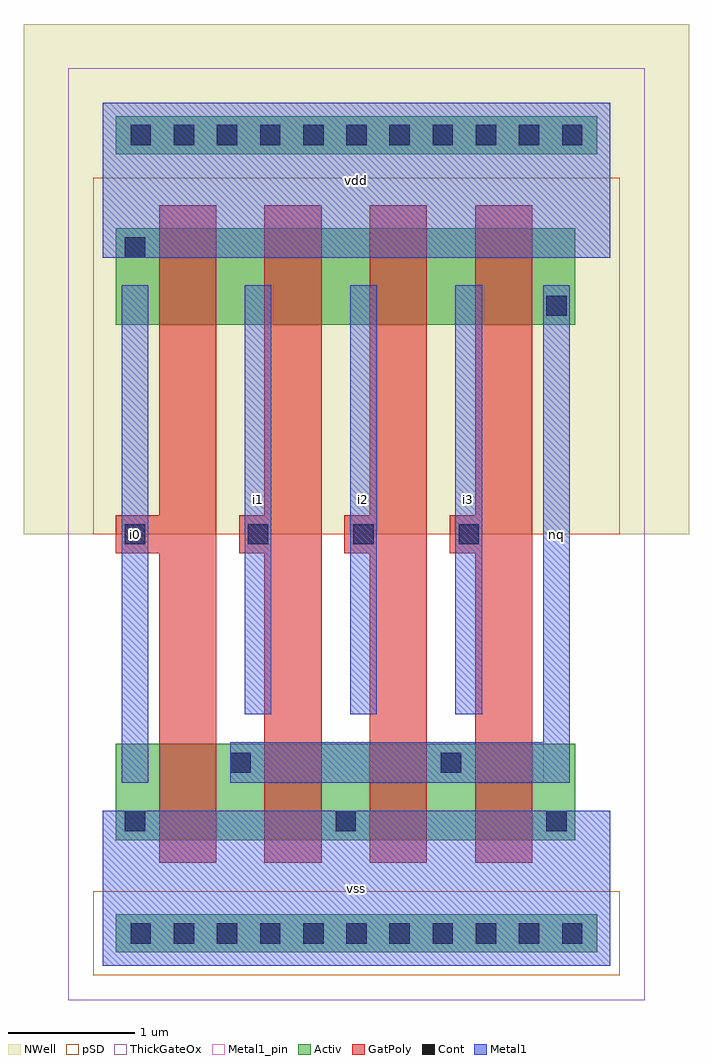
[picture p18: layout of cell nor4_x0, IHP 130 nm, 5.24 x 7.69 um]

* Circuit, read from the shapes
.subckt nor4_x0 i0 i1 i2 i3 nq vdd vss
XM1 nq i0 vss vss sg13_hv_nmos w=0.76u l=0.45u
XM2 vss i1 nq vss sg13_hv_nmos w=0.76u l=0.45u
XM3 nq i2 vss vss sg13_hv_nmos w=0.76u l=0.45u
XM4 vss i3 nq vss sg13_hv_nmos w=0.76u l=0.45u
XM5 n1 i0 vdd vdd sg13_hv_pmos w=0.76u l=0.45u
XM6 n2 i1 n1 vdd sg13_hv_pmos w=0.76u l=0.45u
XM7 n3 i2 n2 vdd sg13_hv_pmos w=0.76u l=0.45u
XM8 nq i3 n3 vdd sg13_hv_pmos w=0.76u l=0.45u
.ends

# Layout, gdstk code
import gdstk
lib = gdstk.Library(unit=1e-6, precision=1e-09)
def R(c, l, rs):  # rectangles x0, y0, x1, y1
    for r in rs: c.add(gdstk.rectangle(r[:2], r[2:], *l))
def A(c, l, x, y, w, h, nx, ny, dx, dy):  # array of equal rectangles
    R(c, l, [(x+i*dx, y+j*dy, x+i*dx+w, y+j*dy+h) for i in range(nx) for j in range(ny)])
def P(c, l, *ps):  # polygons
    for p in ps: c.add(gdstk.Polygon(p, *l))
Activ = (1, 0)
GatPoly = (5, 0)
Cont = (6, 0)
Metal1 = (8, 0)
Metal1_pin = (8, 2)
pSD = (14, 0)
NWell = (31, 0)
ThickGateOx = (44, 0)

nor4_x0 = lib.new_cell('nor4_x0')
R(nor4_x0, Activ, [(0.105,0.105,3.895,0.405), (0.105,0.99,3.725,1.75), (0.105,5.05,3.725,5.81), (0.105,6.395,3.895,6.695)])
P(nor4_x0, GatPoly, [(0.445,0.81),(0.445,3.25),(0.105,3.25),(0.105,3.55),(0.445,3.55),(0.445,5.99),(0.895,5.99),(0.895,0.81)],
  [(1.275,0.81),(1.275,3.25),(1.075,3.25),(1.075,3.55),(1.275,3.55),(1.275,5.99),(1.725,5.99),(1.725,0.81)],
  [(2.105,0.81),(2.105,3.25),(1.905,3.25),(1.905,3.55),(2.105,3.55),(2.105,5.99),(2.555,5.99),(2.555,0.81)],
  [(2.935,0.81),(2.935,3.25),(2.735,3.25),(2.735,3.55),(2.935,3.55),(2.935,5.99),(3.385,5.99),(3.385,0.81)])
A(nor4_x0, Cont, 0.22, 0.175, 0.16, 0.16, 11, 2, 0.34, 6.29)
A(nor4_x0, Cont, 0.175, 1.06, 0.16, 0.16, 3, 1, 1.66, 0)
A(nor4_x0, Cont, 1.145, 3.32, 0.16, 0.16, 3, 1, 0.83, 0)
R(nor4_x0, Cont, [(1.005,1.52,1.165,1.68), (2.665,1.52,2.825,1.68), (0.175,3.32,0.335,3.48), (3.495,5.12,3.655,5.28), (0.175,5.58,0.335,5.74)])
A(nor4_x0, Metal1, 1.12, 1.98, 0.21, 3.38, 3, 1, 0.83, 0)
R(nor4_x0, Metal1, [(0,0,4,1.22), (0.15,1.44,0.36,5.36), (0,5.58,4,6.8)])
P(nor4_x0, Metal1, [(1.005,1.44),(1.005,1.76),(3.47,1.76),(3.47,5.36),(3.68,5.36),(3.68,1.44)])
A(nor4_x0, Metal1_pin, 1.12, 1.98, 0.21, 3.38, 3, 1, 0.83, 0)
R(nor4_x0, Metal1_pin, [(0,0,4,1.22), (0.15,1.44,0.36,5.36), (3.47,1.44,3.68,5.36), (0,5.58,4,6.8)])
R(nor4_x0, pSD, [(-0.075,-0.075,4.075,0.585), (-0.075,3.4,4.075,6.21)])
R(nor4_x0, NWell, [(-0.62,3.4,4.62,7.42)])
R(nor4_x0, ThickGateOx, [(-0.27,-0.27,4.27,7.07)])
nor4_x0.add(gdstk.Label('vss', (2,0.61), layer=8, texttype=2))
nor4_x0.add(gdstk.Label('vdd', (2,6.19), layer=8, texttype=2))
nor4_x0.add(gdstk.Label('nq', (3.575,3.4), layer=8, texttype=2))
nor4_x0.add(gdstk.Label('i0', (0.255,3.4), layer=8, texttype=2))
nor4_x0.add(gdstk.Label('i1', (1.225,3.67), layer=8, texttype=2))
nor4_x0.add(gdstk.Label('i2', (2.055,3.67), layer=8, texttype=2))
nor4_x0.add(gdstk.Label('i3', (2.885,3.67), layer=8, texttype=2))

lib.write_gds('nor4_x0.gds')
